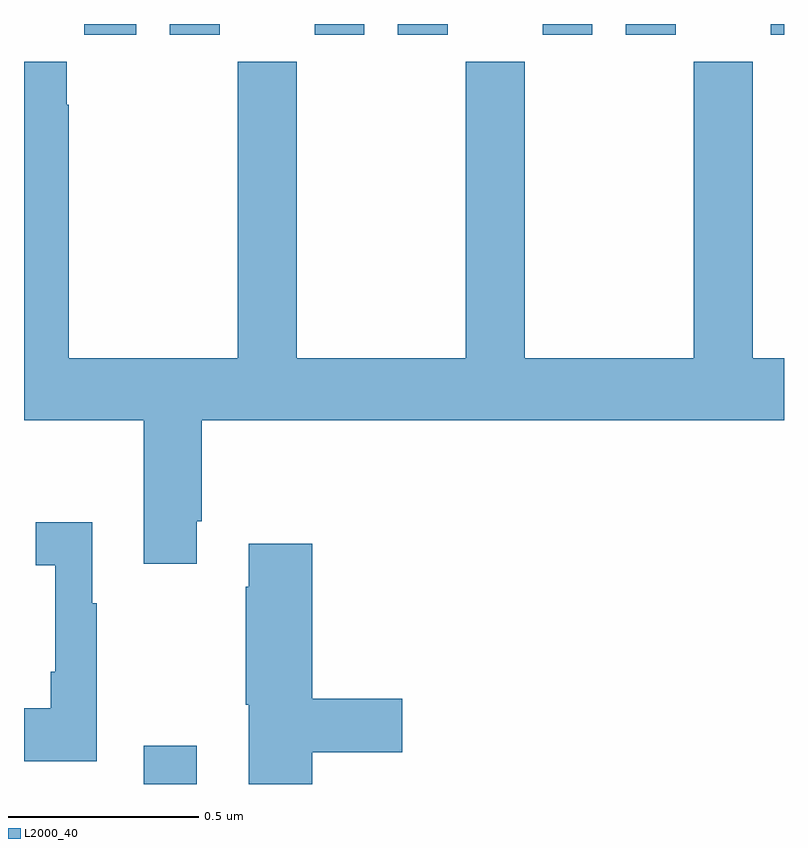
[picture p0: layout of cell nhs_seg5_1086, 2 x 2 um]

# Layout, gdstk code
import gdstk
lib = gdstk.Library(unit=1e-6, precision=1e-09)
def R(c, l, rs):  # rectangles x0, y0, x1, y1
    for r in rs: c.add(gdstk.rectangle(r[:2], r[2:], *l))
def P(c, l, *ps):  # polygons
    for p in ps: c.add(gdstk.Polygon(p, *l))
L2000_40 = (2000, 40)

nhs_seg5_1086 = lib.new_cell('nhs_seg5_1086')
R(nhs_seg5_1086, L2000_40, [(125.315,859.799,125.455,859.9), (125.159,861.771,125.296,861.799), (125.384,861.771,125.515,861.799), (125.765,861.771,125.896,861.799), (125.984,861.771,126.115,861.799), (126.365,861.771,126.496,861.799), (126.584,861.771,126.715,861.799), (126.965,861.771,127,861.799)])
P(nhs_seg5_1086, L2000_40, [(126.763,861.7),(126.763,860.92),(126.318,860.92),(126.318,861.7),(126.163,861.7),(126.163,860.92),(125.718,860.92),(125.718,861.7),(125.563,861.7),(125.563,860.92),(125.118,860.92),(125.118,861.587),(125.113,861.587),(125.113,861.7),(125,861.7),(125,860.756),(125.315,860.756),(125.315,860.379),(125.455,860.379),(125.455,860.491),(125.468,860.491),(125.468,860.756),(127,860.756),(127,860.92),(126.918,860.92),(126.918,861.7)],
  [(125.191,860.275),(125.179,860.275),(125.179,860.488),(125.031,860.488),(125.031,860.375),(125.082,860.375),(125.082,860.095),(125.07,860.095),(125.07,859.999),(125,859.999),(125,859.859),(125.191,859.859)],
  [(125.759,859.882),(125.995,859.882),(125.995,860.024),(125.759,860.024),(125.759,860.431),(125.591,860.431),(125.591,860.318),(125.584,860.318),(125.584,860.007),(125.591,860.007),(125.591,859.799),(125.759,859.799)])

lib.write_gds('nhs_seg5_1086.gds')
